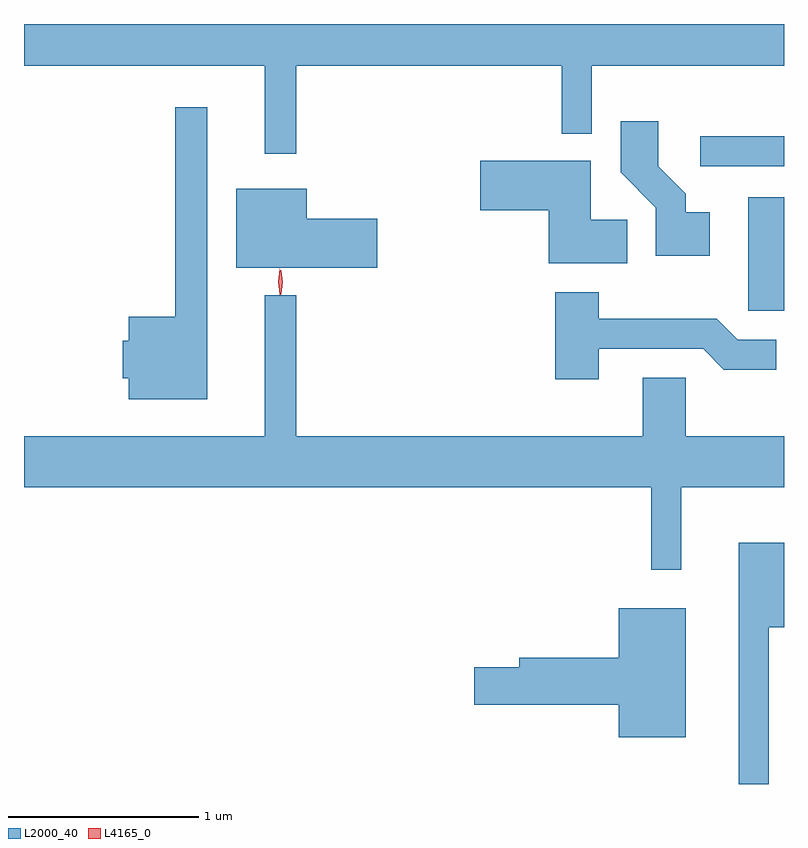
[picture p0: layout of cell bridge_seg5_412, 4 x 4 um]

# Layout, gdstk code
import gdstk
lib = gdstk.Library(unit=1e-6, precision=1e-09)
def R(c, l, rs):  # rectangles x0, y0, x1, y1
    for r in rs: c.add(gdstk.rectangle(r[:2], r[2:], *l))
def P(c, l, *ps):  # polygons
    for p in ps: c.add(gdstk.Polygon(p, *l))
L2000_40 = (2000, 40)
L4165_0 = (4165, 0)

bridge_seg5_412 = lib.new_cell('bridge_seg5_412')
R(bridge_seg5_412, L2000_40, [(239.646,1515.446,239.835,1516.044), (239.393,1516.206,239.835,1516.364)])
P(bridge_seg5_412, L2000_40, [(237.269,1516.736),(238.666,1516.736),(238.666,1516.378),(238.824,1516.378),(238.824,1516.736),(239.835,1516.736),(239.835,1516.955),(235.835,1516.955),(235.835,1516.736),(237.101,1516.736),(237.101,1516.273),(237.269,1516.273)],
  [(236.799,1516.518),(236.631,1516.518),(236.631,1515.414),(236.386,1515.414),(236.386,1515.289),(236.356,1515.289),(236.356,1515.091),(236.386,1515.091),(236.386,1514.981),(236.799,1514.981)],
  [(239.444,1515.964),(239.319,1515.964),(239.319,1516.062),(239.174,1516.207),(239.174,1516.444),(238.976,1516.444),(238.976,1516.174),(239.161,1515.989),(239.161,1515.736),(239.444,1515.736)],
  [(239.009,1515.924),(238.819,1515.924),(238.819,1516.234),(238.236,1516.234),(238.236,1515.976),(238.596,1515.976),(238.596,1515.696),(239.009,1515.696)],
  [(237.694,1515.929),(237.324,1515.929),(237.324,1516.089),(236.951,1516.089),(236.951,1515.671),(237.694,1515.671)],
  [(238.859,1515.246),(239.409,1515.246),(239.519,1515.136),(239.793,1515.136),(239.793,1515.294),(239.592,1515.294),(239.482,1515.404),(238.859,1515.404),(238.859,1515.544),(238.631,1515.544),(238.631,1515.086),(238.859,1515.086)],
  [(239.091,1514.784),(237.269,1514.784),(237.269,1515.528),(237.101,1515.528),(237.101,1514.784),(235.835,1514.784),(235.835,1514.516),(239.136,1514.516),(239.136,1514.083),(239.294,1514.083),(239.294,1514.516),(239.835,1514.516),(239.835,1514.784),(239.319,1514.784),(239.319,1515.094),(239.091,1515.094)],
  [(239.754,1513.781),(239.835,1513.781),(239.835,1514.224),(239.596,1514.224),(239.596,1512.955),(239.754,1512.955)],
  [(239.319,1513.879),(238.966,1513.879),(238.966,1513.619),(238.441,1513.619),(238.441,1513.569),(238.206,1513.569),(238.206,1513.371),(238.966,1513.371),(238.966,1513.201),(239.319,1513.201)])
P(bridge_seg5_412, L4165_0, [(237.182,1515.53),(237.172,1515.598),(237.181,1515.666),(237.182,1515.666),(237.182,1515.666),(237.192,1515.598),(237.183,1515.53),(237.183,1515.53)],
  [(237.187,1515.533),(237.178,1515.596),(237.187,1515.659),(237.188,1515.66),(237.188,1515.659),(237.198,1515.596),(237.188,1515.533),(237.188,1515.533)])

lib.write_gds('bridge_seg5_412.gds')
